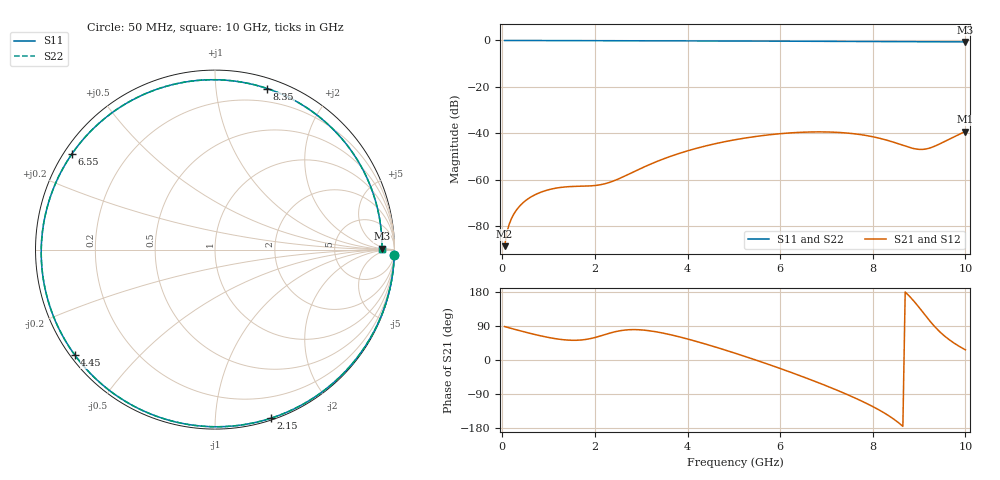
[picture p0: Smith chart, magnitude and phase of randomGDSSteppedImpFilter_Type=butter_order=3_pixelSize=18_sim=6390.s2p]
! freq	dB(S11)	phase(S11)	dB(S12)	phase(S12)
!  dB(S21)	phase(S21)	dB(S22)	phase(S22)
!S-par simulation data
#  GHz  S  DB  R 50
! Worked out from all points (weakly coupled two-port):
!   200 points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, 50 MHz to 10 GHz, reference 50 ohm
!   highest |S21| = -39.20 dB at 10 GHz (marker M1); lowest = -88.5 dB at 50 MHz (marker M2)
!   lowest |S11| = -0.6 dB at 10 GHz (marker M3), VSWR 27.68, Z = 1.38e+03 + j95.4 ohm
!   |S11| at or under -10 dB: nowhere
!   |S22| runs from -0.6 to 0.0 dB; largest |S21 - S12| = 0
!   S11 on the Smith chart (normalised r, x): 50 MHz: 2, -66; 2.15 GHz: 0.02, -1.39; 4.45 GHz: 0.01, -0.33; 6.55 GHz: 0.02, +0.30; 8.35 GHz: 0.08, +1.37; 10 GHz: 28, +2
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0.05  -0.01 -1.7  -88.50 88.2  -88.50 88.2  -0.01 -1.7
0.15  -0.01 -5.1  -79.01 84.8  -79.01 84.8  -0.01 -5.1
0.25  -0.01 -8.6  -74.65 81.5  -74.65 81.5  -0.01 -8.6
0.4  -0.02 -13.7  -70.74 76.6  -70.74 76.6  -0.02 -13.7
0.7  -0.03 -23.9  -66.44 67.4  -66.44 67.4  -0.03 -23.9
1.15  -0.05 -38.9  -63.56 56.2  -63.56 56.2  -0.05 -39.0
1.75  -0.07 -58.7  -62.69 53.4  -62.69 53.4  -0.07 -58.7
2.15  -0.09 -71.6  -61.95 64.6  -61.95 64.6  -0.09 -71.6
2.75  -0.11 -90.5  -57.34 80.0  -57.34 80.0  -0.11 -90.6
3.4  -0.14 -110.7  -51.58 72.7  -51.58 72.7  -0.14 -110.7
4.45  -0.20 -143.2  -45.10 39.8  -45.10 39.8  -0.20 -143.2
5.05  -0.24 -162.1  -42.63 17.0  -42.63 17.0  -0.24 -162.1
5.8  -0.30 173.1  -40.51 -13.7  -40.51 -13.7  -0.30 173.0
6.55  -0.36 146.3  -39.43 -47.0  -39.43 -47.0  -0.36 146.3
6.7  -0.38 140.6  -39.36 -53.9  -39.36 -53.9  -0.38 140.6
7.6  -0.45 104.6  -40.16 -99.3  -40.16 -99.3  -0.45 104.6
8  -0.48 87.4  -41.42 -122.9  -41.42 -122.9  -0.48 87.5
8.35  -0.51 72.1  -43.17 -147.5  -43.17 -147.5  -0.51 72.1
8.85  -0.54 49.8  -46.35 160.6  -46.35 160.6  -0.54 49.8
9.1  -0.55 38.7  -46.82 123.2  -46.82 123.2  -0.55 38.7
9.55  -0.59 19.1  -43.47 63.2  -43.47 63.2  -0.58 19.1
10  -0.63 0.3  -39.20 26.9  -39.20 26.9  -0.63 0.4
